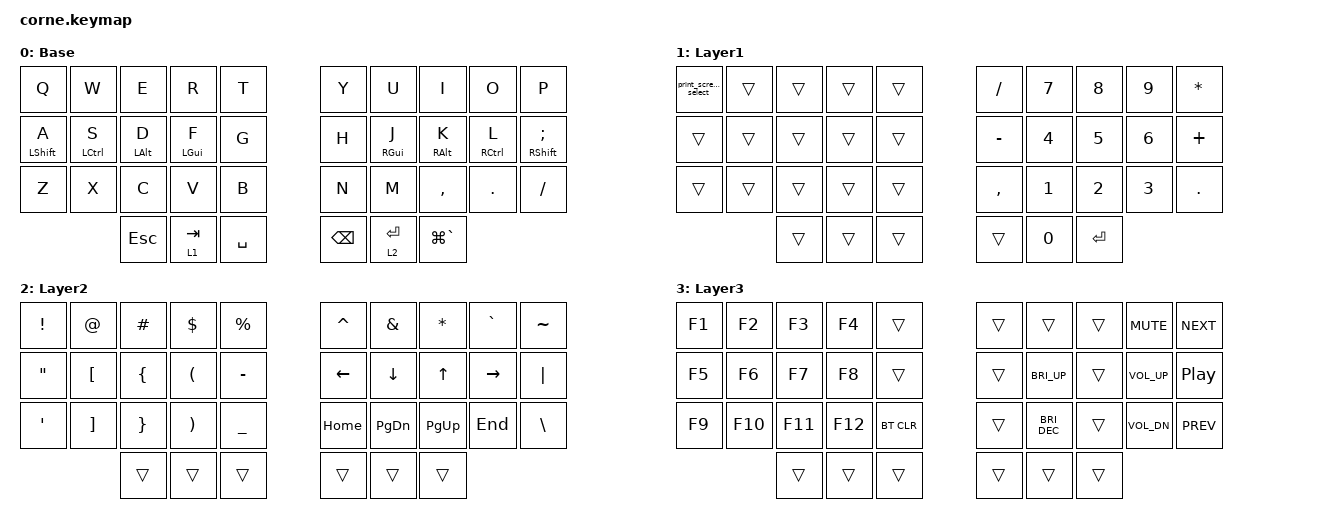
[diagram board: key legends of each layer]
/*
 * Copyright (c) 2020 The ZMK Contributors
 *
 * SPDX-License-Identifier: MIT
 */

#include <behaviors.dtsi>
#include <dt-bindings/zmk/keys.h>
#include <dt-bindings/zmk/bt.h>


#define AS(keycode) &as LS(keycode) keycode

/ {
    chosen {
        zmk,physical-layout = &foostan_corne_5col_layout;
    };

     combos {
        compatible = "zmk,combos";

        layer3 {
            bindings = <&mo 3>;
            key-positions = <31 34>;
        };

         copy {
            bindings = <&kp LG(C)>;
            key-positions = <31 23>;
        };

        paste {
            bindings = <&kp LG(V)>;
            key-positions = <31 24>;
        };

        cut {
            bindings = <&kp LG(X)>;
            key-positions = <31 21>;
        };

        refresh {
            bindings = <&kp LG(R)>;
            key-positions = <31 4>;
        };

        close {
            bindings = <&kp LG(W)>;
            key-positions = <31 2>;
        };
        
    };

    macros {
        print_screen_select: print_screen_select {
            compatible = "zmk,behavior-macro";
            #binding-cells = <0>;
            bindings = <&kp LS(LG(NUMBER_4))>;
        };
    };

    behaviors {
        as: auto_shift {
            compatible = "zmk,behavior-hold-tap";
            #binding-cells = <2>;
            tapping_term_ms = <200>;
            quick_tap_ms = <0>;
            flavor = "tap-preferred";
            bindings = <&kp>, <&kp>;
        };
         hml: home_row_mod_left {
            compatible = "zmk,behavior-hold-tap";
            #binding-cells = <2>;
            flavor = "balanced";
            require-prior-idle-ms = <150>;
            tapping-term-ms = <280>;
            quick-tap-ms = <175>;
            bindings = <&kp>, <&kp>;
            hold-trigger-key-positions = <5 6 7 8 9 15 16 17 18 19 25 26 27 28 29 31 32>; // List of keys on the right side of the keyboard
            hold-trigger-on-release;
        };
        hmr: home_row_mod_right {
            compatible = "zmk,behavior-hold-tap";
            #binding-cells = <2>;
            flavor = "balanced";
            require-prior-idle-ms = <150>;
            tapping-term-ms = <280>;
            quick-tap-ms = <175>;
            bindings = <&kp>, <&kp>;
            hold-trigger-key-positions = <0 1 2 3 4 10 11 12 13 14 20 21 22 23 24>; // List of keys on the left side of the keyboard
            hold-trigger-on-release;
        };
    };

        keymap {
                compatible = "zmk,keymap";

                default_layer {
                        display-name = "Base";
                        bindings = <
//   ╭────────────────┬───────────────┬──────────────┬──────────────┬───────────╮ 
        &kp Q           &kp W           &kp E           &kp R           &kp T           &kp Y   &kp U           &kp I           &kp O           &kp P
//   ├────────────────┼───────────────┼──────────────┼──────────────┼───────────┤
        &hml LSHIFT A   &hml LCTRL S     &hml LALT D    &hml LGUI F     &kp G           &kp H   &hmr RGUI J     &hmr RALT K    &hmr RCTRL L     &hmr RSHIFT SEMI
//   ├────────────────┼───────────────┼──────────────┼──────────────┼───────────┤
        &kp Z           &kp X           &kp C           &kp V           &kp B           &kp N   &kp M           &kp COMMA       &kp DOT         &kp FSLH
//   ├────────────────┼───────────────┼──────────────┼──────────────┼───────────┤
                                        &kp ESC         &lt 1 TAB       &kp SPACE       &kp BSPC        &lt 2 ENTER     &kp LG(GRAVE)
//                                 ╰───────────────┴────────────────┴───────────╯ 
                        >;
                };

                layer_1 {
                        display-name = "Layer1";
                        bindings = <
  &print_screen_select  &trans  &trans  &trans  &trans           &kp FSLH    &kp N7  &kp N8   &kp N9  &kp ASTERISK
  &trans  &trans  &trans  &trans  &trans                         &kp MINUS   &kp N4  &kp N5   &kp N6  &kp PLUS
  &trans  &trans  &trans  &trans  &trans                         &kp COMMA   &kp N1  &kp N2   &kp N3  &kp DOT
                  &trans  &trans  &trans                         &trans  &kp N0  &kp RET
                        >;
                };

                layer_2 {
                        display-name = "Layer2";
                        bindings = <
  &kp EXCL   &kp AT   &kp HASH   &kp DLLR   &kp PRCNT         &kp CARET  &kp AMPS   &kp ASTRK  &kp GRAVE   &kp TILDE
  &kp DQT  &kp LBKT   &kp LBRC   &kp LPAR   &kp MINUS         &kp LEFT  &kp DOWN  &kp UP  &kp RIGHT  &kp PIPE
  &kp SQT  &kp RBKT   &kp RBRC   &kp RPAR   &kp UNDER         &kp HOME  &kp PG_DN &kp PG_UP &kp END  &kp BSLH
                            &trans  &trans  &trans            &trans    &trans    &trans
                        >;
                };
                
                layer_3 {
                        display-name = "Layer3";
                        bindings = <
        //╭──────────┬──────────┬──────────┬───────────┬────────────╮   ╭────────────┬────────────┬──────────┬───────────┬──────────╮
        //│  F1      │  F2      │  F3      │  F4       │            │   │            │            │          │ VOL MUTE  │ NEXTSONG │
            &kp F1     &kp F2     &kp F3     &kp F4       &trans          &trans        &trans        &trans  &kp C_MUTE  &kp C_NEXT
        //├──────────┼──────────┼──────────┼───────────┼────────────┤   ├────────────┼────────────┼──────────┼───────────┼──────────┤
        //│  F5      │  F6      │  F7      │  F8       │            │   │            │ INC BRIGHT │          │  VOL UP   │PAUSEMUSIC│
            &kp F5     &kp F6     &kp F7     &kp F8     &trans            &trans       &kp C_BRI_UP  &trans   &kp C_VOL_UP  &kp C_PP
        //├──────────┼──────────┼──────────┼───────────┼────────────┤   ├────────────┼────────────┼──────────┼───────────┼──────────┤
        //│  F9      │  F10     │  F11     │  F12      │  CLEAR BT  │   │            │ DEC BRIGHT │          |  VOL DOWN │ PREVSONG │
            &kp F9     &kp F10    &kp F11    &kp F12     &bt BT_CLR      &trans       &kp C_BRI_DEC  &trans   &kp C_VOL_DN &kp C_PREV
        //╰──────────┴──────────┴──────────┼───────────┼────────────┤   ├────────────┼────────────┼──────────┴───────────┴──────────╯
                                    &trans     &trans     &trans          &trans      &trans      &trans
        //                      ╰───────────┴───────────┴──────────╯   ╰───────────┴───────────┴──────────╯
                        >; 
                };

                extra_4 {
                        status = "reserved";
                };

                extra_5 {
                        status = "reserved";
                };
        };
};
